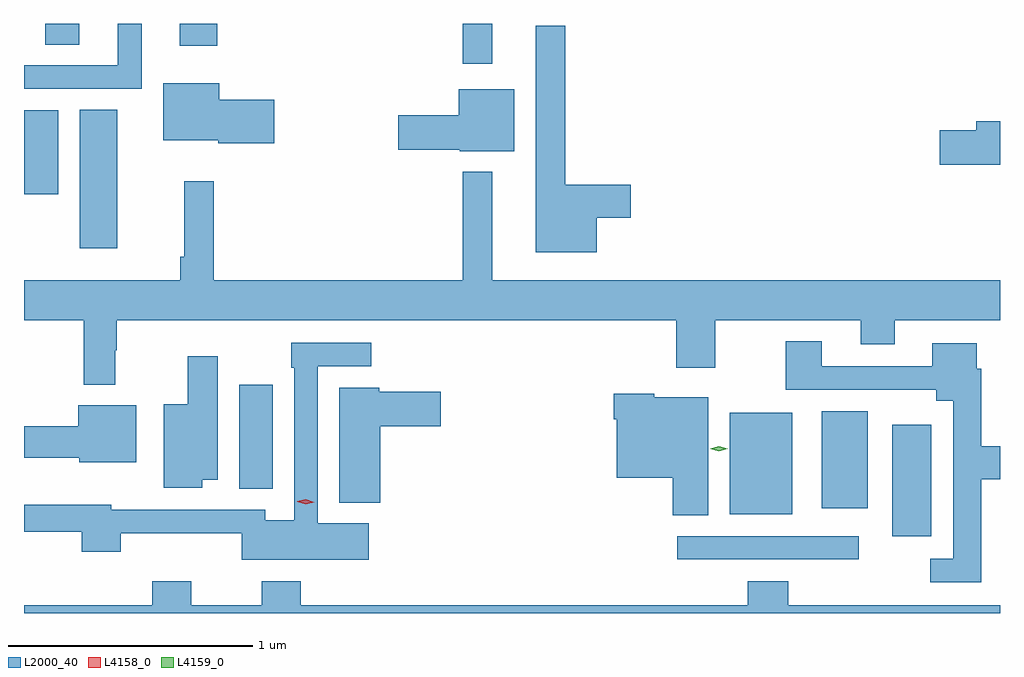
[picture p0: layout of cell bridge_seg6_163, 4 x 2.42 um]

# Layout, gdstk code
import gdstk
lib = gdstk.Library(unit=1e-6, precision=1e-09)
def R(c, l, rs):  # rectangles x0, y0, x1, y1
    for r in rs: c.add(gdstk.rectangle(r[:2], r[2:], *l))
def P(c, l, *ps):  # polygons
    for p in ps: c.add(gdstk.Polygon(p, *l))
L2000_40 = (2000, 40)
L4158_0 = (4158, 0)
L4159_0 = (4159, 0)

bridge_seg6_163 = lib.new_cell('bridge_seg6_163')
R(bridge_seg6_163, L2000_40, [(618.915,915.72,619.66,915.816), (619.796,915.815,619.957,916.273), (619.13,915.905,619.387,916.321), (619.508,915.929,619.696,916.327), (617.12,916.009,617.257,916.435), (616.466,916.995,616.621,917.564), (616.238,917.216,616.378,917.56), (618.036,917.751,618.157,917.915), (616.877,917.826,617.03,917.915), (616.325,917.83,616.465,917.915)])
P(bridge_seg6_163, L2000_40, [(616.72,917.915),(616.622,917.915),(616.622,917.745),(616.238,917.745),(616.238,917.649),(616.72,917.649)],
  [(618.586,917.12),(618.724,917.12),(618.724,917.255),(618.457,917.255),(618.457,917.908),(618.335,917.908),(618.335,916.979),(618.586,916.979)],
  [(617.263,917.604),(617.038,917.604),(617.038,917.671),(616.808,917.671),(616.808,917.438),(617.034,917.438),(617.034,917.426),(617.263,917.426)],
  [(618.247,917.647),(618.02,917.647),(618.02,917.541),(617.772,917.541),(617.772,917.399),(618.024,917.399),(618.024,917.393),(618.247,917.393)],
  [(620.238,917.516),(620.141,917.516),(620.141,917.48),(619.992,917.48),(619.992,917.338),(620.238,917.338)],
  [(616.612,916.577),(616.619,916.577),(616.619,916.7),(618.911,916.7),(618.911,916.506),(619.071,916.506),(619.071,916.7),(619.667,916.7),(619.667,916.601),(619.807,916.601),(619.807,916.7),(620.238,916.7),(620.238,916.864),(618.157,916.864),(618.157,917.308),(618.036,917.308),(618.036,916.864),(617.015,916.864),(617.015,917.269),(616.894,917.269),(616.894,916.96),(616.879,916.96),(616.879,916.864),(616.238,916.864),(616.238,916.7),(616.483,916.7),(616.483,916.437),(616.612,916.437)],
  [(620.162,916.048),(620.238,916.048),(620.238,916.184),(620.162,916.184),(620.162,916.502),(620.143,916.502),(620.143,916.606),(619.961,916.606),(619.961,916.512),(619.507,916.512),(619.507,916.615),(619.36,916.615),(619.36,916.416),(619.976,916.416),(619.976,916.37),(620.046,916.37),(620.046,915.723),(619.953,915.723),(619.953,915.627),(620.162,915.627)],
  [(617.65,915.868),(617.442,915.868),(617.442,916.512),(617.662,916.512),(617.662,916.608),(617.334,916.608),(617.334,916.505),(617.346,916.505),(617.346,915.88),(617.226,915.88),(617.226,915.924),(616.596,915.924),(616.596,915.944),(616.238,915.944),(616.238,915.834),(616.474,915.834),(616.474,915.752),(616.634,915.752),(616.634,915.827),(617.13,915.827),(617.13,915.719),(617.65,915.719)],
  [(616.969,916.046),(617.032,916.046),(617.032,916.552),(616.91,916.552),(616.91,916.357),(616.811,916.357),(616.811,916.013),(616.969,916.013)],
  [(617.698,916.265),(617.947,916.265),(617.947,916.407),(617.694,916.407),(617.694,916.423),(617.531,916.423),(617.531,915.953),(617.698,915.953)],
  [(619.042,916.384),(618.822,916.384),(618.822,916.399),(618.656,916.399),(618.656,916.295),(618.668,916.295),(618.668,916.055),(618.896,916.055),(618.896,915.901),(619.042,915.901)],
  [(616.699,916.351),(616.46,916.351),(616.46,916.266),(616.238,916.266),(616.238,916.136),(616.464,916.136),(616.464,916.118),(616.699,916.118)],
  [(620.238,915.532),(619.37,915.532),(619.37,915.631),(619.205,915.631),(619.205,915.532),(617.372,915.532),(617.372,915.631),(617.212,915.631),(617.212,915.532),(616.923,915.532),(616.923,915.631),(616.763,915.631),(616.763,915.532),(616.238,915.532),(616.238,915.5),(620.238,915.5)])
P(bridge_seg6_163, L4158_0, [(617.393,915.946),(617.358,915.957),(617.358,915.957),(617.358,915.958),(617.393,915.966),(617.428,915.955),(617.428,915.955),(617.428,915.954)])
P(bridge_seg6_163, L4159_0, [(619.086,916.164),(619.05,916.174),(619.05,916.174),(619.05,916.174),(619.086,916.184),(619.122,916.174),(619.123,916.174),(619.122,916.174)])

lib.write_gds('bridge_seg6_163.gds')
